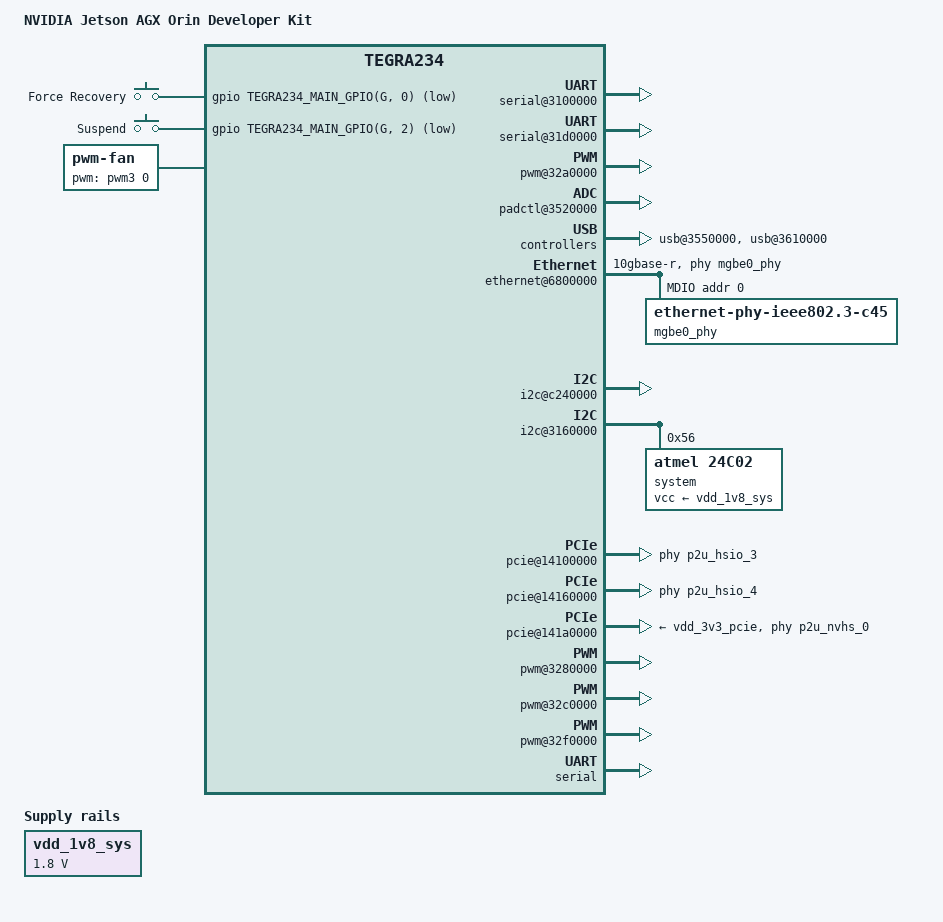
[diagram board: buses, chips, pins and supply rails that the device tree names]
// SPDX-License-Identifier: GPL-2.0
/dts-v1/;

#include <dt-bindings/input/linux-event-codes.h>
#include <dt-bindings/input/gpio-keys.h>

#include "tegra234-p3701-0000.dtsi"


/ {
	model = "NVIDIA Jetson AGX Orin Developer Kit";
	compatible = "nvidia,p3737-0000+p3701-0000", "nvidia,p3701-0000", "nvidia,tegra234";

	aliases {
		serial0 = &tcu;
		serial1 = &uarta;
	};

	chosen {
		bootargs = "console=ttyTCU0,115200n8";
		stdout-path = "serial0:115200n8";
	};

	bus@0 {
		serial@3100000 {
			compatible = "nvidia,tegra194-hsuart";
			reset-names = "serial";
			status = "okay";
		};

		serial@31d0000 {
			status = "okay";
		};

		pwm@32a0000 {
			assigned-clocks = <&bpmp TEGRA234_CLK_PWM3>;
			assigned-clock-parents = <&bpmp TEGRA234_CLK_PLLP_OUT0>;
			status = "okay";
		};

		hda@3510000 {
			nvidia,model = "NVIDIA Jetson AGX Orin HDA";
			status = "okay";
		};

		padctl@3520000 {
			status = "okay";

			pads {
				usb2 {
					lanes {
						usb2-0 {
							status = "okay";
						};

						usb2-1 {
							status = "okay";
						};

						usb2-2 {
							status = "okay";
						};

						usb2-3 {
							status = "okay";
						};
					};
				};

				usb3 {
					lanes {
						usb3-0 {
							status = "okay";
						};

						usb3-1 {
							status = "okay";
						};

						usb3-2 {
							status = "okay";
						};
					};
				};
			};

			ports {
				usb2-0 {
					mode = "otg";
					usb-role-switch;
					status = "okay";
					connector {
						compatible = "usb-b-connector", "gpio-usb-b-connector";
						label = "micro-USB";
						type = "micro";
						vbus-gpio = <&gpio TEGRA234_MAIN_GPIO(AF, 3) GPIO_ACTIVE_HIGH>;
						id-gpio = <&gpio TEGRA234_MAIN_GPIO(AF, 2) GPIO_ACTIVE_HIGH>;
					};
				};

				usb2-1 {
					mode = "host";
					status = "okay";
				};

				usb2-2 {
					mode = "host";
					status = "okay";
				};

				usb2-3 {
					mode = "host";
					status = "okay";
				};

				usb3-0 {
					nvidia,usb2-companion = <1>;
					status = "okay";
				};

				usb3-1 {
					nvidia,usb2-companion = <0>;
					status = "okay";
				};

				usb3-2 {
					nvidia,usb2-companion = <3>;
					status = "okay";
				};
			};
		};

		usb@3550000 {
			status = "okay";

			phys = <&{/bus@0/padctl@3520000/pads/usb2/lanes/usb2-0}>,
			       <&{/bus@0/padctl@3520000/pads/usb3/lanes/usb3-1}>;
			phy-names = "usb2-0", "usb3-0";
		};

		usb@3610000 {
			status = "okay";

			phys = <&{/bus@0/padctl@3520000/pads/usb2/lanes/usb2-0}>,
			       <&{/bus@0/padctl@3520000/pads/usb2/lanes/usb2-1}>,
			       <&{/bus@0/padctl@3520000/pads/usb2/lanes/usb2-2}>,
			       <&{/bus@0/padctl@3520000/pads/usb2/lanes/usb2-3}>,
			       <&{/bus@0/padctl@3520000/pads/usb3/lanes/usb3-0}>,
			       <&{/bus@0/padctl@3520000/pads/usb3/lanes/usb3-1}>,
			       <&{/bus@0/padctl@3520000/pads/usb3/lanes/usb3-2}>;
			phy-names = "usb2-0", "usb2-1", "usb2-2", "usb2-3",
				    "usb3-0", "usb3-1", "usb3-2";
		};

		ethernet@6800000 {
			status = "okay";

			phy-handle = <&mgbe0_phy>;
			phy-mode = "10gbase-r";

			mdio {
				#address-cells = <1>;
				#size-cells = <0>;

				mgbe0_phy: phy@0 {
					compatible = "ethernet-phy-ieee802.3-c45";
					reg = <0x0>;

					#phy-cells = <0>;
				};
			};
		};

		i2c@c240000 {
			status = "okay";
		};

		i2c@3160000 {
			status = "okay";

			eeprom@56 {
				compatible = "atmel,24c02";
				reg = <0x56>;

				label = "system";
				vcc-supply = <&vdd_1v8_sys>;
				address-width = <8>;
				pagesize = <8>;
				size = <256>;
				read-only;
			};
		};

		pcie@14100000 {
			status = "okay";

			vddio-pex-ctl-supply = <&vdd_1v8_ao>;

			phys = <&p2u_hsio_3>;
			phy-names = "p2u-0";
		};

		pcie@14160000 {
			status = "okay";

			vddio-pex-ctl-supply = <&vdd_1v8_ao>;

			phys = <&p2u_hsio_4>, <&p2u_hsio_5>, <&p2u_hsio_6>,
			       <&p2u_hsio_7>;
			phy-names = "p2u-0", "p2u-1", "p2u-2", "p2u-3";
		};

		pcie@141a0000 {
			status = "okay";

			vddio-pex-ctl-supply = <&vdd_1v8_ls>;
			vpcie3v3-supply = <&vdd_3v3_pcie>;
			vpcie12v-supply = <&vdd_12v_pcie>;

			phys = <&p2u_nvhs_0>, <&p2u_nvhs_1>, <&p2u_nvhs_2>,
			       <&p2u_nvhs_3>, <&p2u_nvhs_4>, <&p2u_nvhs_5>,
			       <&p2u_nvhs_6>, <&p2u_nvhs_7>;
			phy-names = "p2u-0", "p2u-1", "p2u-2", "p2u-3", "p2u-4",
				    "p2u-5", "p2u-6", "p2u-7";
		};

		pcie-ep@141a0000 {
			status = "disabled";

			vddio-pex-ctl-supply = <&vdd_1v8_ls>;

			reset-gpios = <&gpio TEGRA234_MAIN_GPIO(AF, 1) GPIO_ACTIVE_LOW>;

			nvidia,refclk-select-gpios = <&gpio_aon
						      TEGRA234_AON_GPIO(AA, 4)
						      GPIO_ACTIVE_HIGH>;

			phys = <&p2u_nvhs_0>, <&p2u_nvhs_1>, <&p2u_nvhs_2>,
			       <&p2u_nvhs_3>, <&p2u_nvhs_4>, <&p2u_nvhs_5>,
			       <&p2u_nvhs_6>, <&p2u_nvhs_7>;
			phy-names = "p2u-0", "p2u-1", "p2u-2", "p2u-3", "p2u-4",
				    "p2u-5", "p2u-6", "p2u-7";
		};

		pwm@3280000 {
			status = "okay";
		};

		pwm@32c0000 {
			status = "okay";
		};

		pwm@32f0000 {
			status = "okay";
		};
	};

	gpio-keys {
		compatible = "gpio-keys";
		status = "okay";

		key-force-recovery {
			label = "Force Recovery";
			gpios = <&gpio TEGRA234_MAIN_GPIO(G, 0) GPIO_ACTIVE_LOW>;
			linux,input-type = <EV_KEY>;
			linux,code = <BTN_1>;
		};

		key-suspend {
			label = "Suspend";
			gpios = <&gpio TEGRA234_MAIN_GPIO(G, 2) GPIO_ACTIVE_LOW>;
			linux,input-type = <EV_KEY>;
			linux,code = <KEY_SLEEP>;
		};
	};


	fan: pwm-fan {
		compatible = "pwm-fan";
		pwms = <&pwm3 0 45334>;
		cooling-levels = <66 215 255>;
		#cooling-cells = <2>;
	};


	serial {
		status = "okay";
	};

	sound {
		compatible = "nvidia,tegra186-audio-graph-card";
		status = "okay";

		dais = /* ADMAIF (FE) Ports */
		       <&admaif0_port>, <&admaif1_port>, <&admaif2_port>, <&admaif3_port>,
		       <&admaif4_port>, <&admaif5_port>, <&admaif6_port>, <&admaif7_port>,
		       <&admaif8_port>, <&admaif9_port>, <&admaif10_port>, <&admaif11_port>,
		       <&admaif12_port>, <&admaif13_port>, <&admaif14_port>, <&admaif15_port>,
		       <&admaif16_port>, <&admaif17_port>, <&admaif18_port>, <&admaif19_port>,
		       /* XBAR Ports */
		       <&xbar_i2s1_port>, <&xbar_i2s2_port>, <&xbar_i2s4_port>,
		       <&xbar_i2s6_port>, <&xbar_dmic3_port>,
		       <&xbar_sfc1_in_port>, <&xbar_sfc2_in_port>,
		       <&xbar_sfc3_in_port>, <&xbar_sfc4_in_port>,
		       <&xbar_mvc1_in_port>, <&xbar_mvc2_in_port>,
		       <&xbar_amx1_in1_port>, <&xbar_amx1_in2_port>,
		       <&xbar_amx1_in3_port>, <&xbar_amx1_in4_port>,
		       <&xbar_amx2_in1_port>, <&xbar_amx2_in2_port>,
		       <&xbar_amx2_in3_port>, <&xbar_amx2_in4_port>,
		       <&xbar_amx3_in1_port>, <&xbar_amx3_in2_port>,
		       <&xbar_amx3_in3_port>, <&xbar_amx3_in4_port>,
		       <&xbar_amx4_in1_port>, <&xbar_amx4_in2_port>,
		       <&xbar_amx4_in3_port>, <&xbar_amx4_in4_port>,
		       <&xbar_adx1_in_port>, <&xbar_adx2_in_port>,
		       <&xbar_adx3_in_port>, <&xbar_adx4_in_port>,
		       <&xbar_mix_in1_port>, <&xbar_mix_in2_port>,
		       <&xbar_mix_in3_port>, <&xbar_mix_in4_port>,
		       <&xbar_mix_in5_port>, <&xbar_mix_in6_port>,
		       <&xbar_mix_in7_port>, <&xbar_mix_in8_port>,
		       <&xbar_mix_in9_port>, <&xbar_mix_in10_port>,
		       <&xbar_asrc_in1_port>, <&xbar_asrc_in2_port>,
		       <&xbar_asrc_in3_port>, <&xbar_asrc_in4_port>,
		       <&xbar_asrc_in5_port>, <&xbar_asrc_in6_port>,
		       <&xbar_asrc_in7_port>,
		       <&xbar_ope1_in_port>,
		       /* HW accelerators */
		       <&sfc1_out_port>, <&sfc2_out_port>,
		       <&sfc3_out_port>, <&sfc4_out_port>,
		       <&mvc1_out_port>, <&mvc2_out_port>,
		       <&amx1_out_port>, <&amx2_out_port>,
		       <&amx3_out_port>, <&amx4_out_port>,
		       <&adx1_out1_port>, <&adx1_out2_port>,
		       <&adx1_out3_port>, <&adx1_out4_port>,
		       <&adx2_out1_port>, <&adx2_out2_port>,
		       <&adx2_out3_port>, <&adx2_out4_port>,
		       <&adx3_out1_port>, <&adx3_out2_port>,
		       <&adx3_out3_port>, <&adx3_out4_port>,
		       <&adx4_out1_port>, <&adx4_out2_port>,
		       <&adx4_out3_port>, <&adx4_out4_port>,
		       <&mix_out1_port>, <&mix_out2_port>, <&mix_out3_port>,
		       <&mix_out4_port>, <&mix_out5_port>,
		       <&asrc_out1_port>, <&asrc_out2_port>, <&asrc_out3_port>,
		       <&asrc_out4_port>, <&asrc_out5_port>, <&asrc_out6_port>,
		       <&ope1_out_port>,
		       /* BE I/O Ports */
		       <&i2s1_port>, <&i2s2_port>, <&i2s4_port>, <&i2s6_port>,
		       <&dmic3_port>;

		label = "NVIDIA Jetson AGX Orin APE";
	};

	thermal-zones {
		tj-thermal {
			cooling-maps {
				map-active-0 {
					cooling-device = <&fan 0 1>;
					trip = <&tj_trip_active0>;
				};

				map-active-1 {
					cooling-device = <&fan 1 2>;
					trip = <&tj_trip_active1>;
				};
			};
		};
	};

	vdd_1v8_sys: regulator-vdd-1v8-sys {
		compatible = "regulator-fixed";
		regulator-name = "VDD_1V8_SYS";
		regulator-min-microvolt = <1800000>;
		regulator-max-microvolt = <1800000>;
		regulator-always-on;
	};
};
